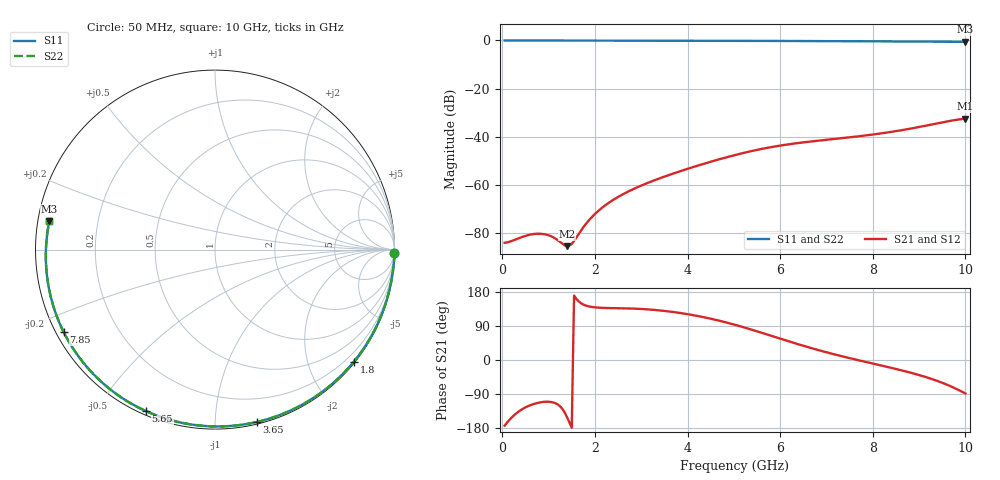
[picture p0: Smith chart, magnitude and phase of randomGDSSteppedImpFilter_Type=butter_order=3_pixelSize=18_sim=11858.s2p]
! freq	dB(S11)	phase(S11)	dB(S12)	phase(S12)
!  dB(S21)	phase(S21)	dB(S22)	phase(S22)
!S-par simulation data
#  GHz  S  DB  R 50
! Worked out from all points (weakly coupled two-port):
!   200 points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, 50 MHz to 10 GHz, reference 50 ohm
!   highest |S21| = -32.51 dB at 10 GHz (marker M1); lowest = -85.5 dB at 1.4 GHz (marker M2)
!   lowest |S11| = -0.6 dB at 10 GHz (marker M3), VSWR 30.56, Z = 1.65 + j4.23 ohm
!   |S11| at or under -10 dB: nowhere
!   |S22| runs from -0.6 to 0.0 dB; largest |S21 - S12| = 0
!   S11 on the Smith chart (normalised r, x): 50 MHz: open; 1.8 GHz: 0.03, -2.83; 3.65 GHz: 0.02, -1.27; 5.65 GHz: 0.02, -0.66; 7.85 GHz: 0.02, -0.25; 10 GHz: 0.03, +0.08
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0.05  -0.00 -1.1  -84.09 -173.2  -84.09 -173.2  -0.00 -1.1
0.7  -0.03 -15.4  -80.40 -115.3  -80.40 -115.3  -0.03 -15.4
1.4  -0.04 -30.5  -85.49 -151.4  -85.49 -151.4  -0.04 -30.4
1.65  -0.05 -35.8  -80.41 154.6  -80.41 154.6  -0.05 -35.8
1.75  -0.05 -37.9  -77.63 146.4  -77.63 146.4  -0.05 -37.9
1.8  -0.05 -38.9  -76.36 143.8  -76.36 143.8  -0.05 -38.9
2.05  -0.06 -44.2  -71.23 138.3  -71.23 138.3  -0.06 -44.2
2.2  -0.06 -47.3  -68.85 137.4  -68.85 137.4  -0.06 -47.3
2.4  -0.06 -51.4  -66.20 136.9  -66.20 136.9  -0.06 -51.4
2.85  -0.08 -60.5  -61.58 135.6  -61.58 135.6  -0.08 -60.5
3.4  -0.09 -71.4  -57.28 130.8  -57.28 130.8  -0.09 -71.4
3.65  -0.10 -76.3  -55.58 127.3  -55.58 127.3  -0.10 -76.3
4.35  -0.13 -89.5  -51.26 112.9  -51.26 112.9  -0.13 -89.5
5.05  -0.16 -102.4  -47.50 92.0  -47.50 92.0  -0.16 -102.4
5.65  -0.19 -113.1  -44.89 70.0  -44.89 70.0  -0.19 -113.1
6.15  -0.22 -121.9  -43.25 50.6  -43.25 50.6  -0.22 -121.9
6.7  -0.26 -131.5  -41.91 30.5  -41.91 30.5  -0.26 -131.5
7.3  -0.30 -141.9  -40.68 10.9  -40.68 10.9  -0.30 -141.9
7.85  -0.35 -151.4  -39.47 -5.1  -39.47 -5.1  -0.35 -151.4
8.35  -0.40 -160.1  -38.14 -19.3  -38.14 -19.3  -0.40 -160.1
9.2  -0.49 -175.1  -35.21 -47.1  -35.21 -47.1  -0.49 -175.1
10  -0.57 170.3  -32.51 -88.2  -32.51 -88.2  -0.57 170.3
